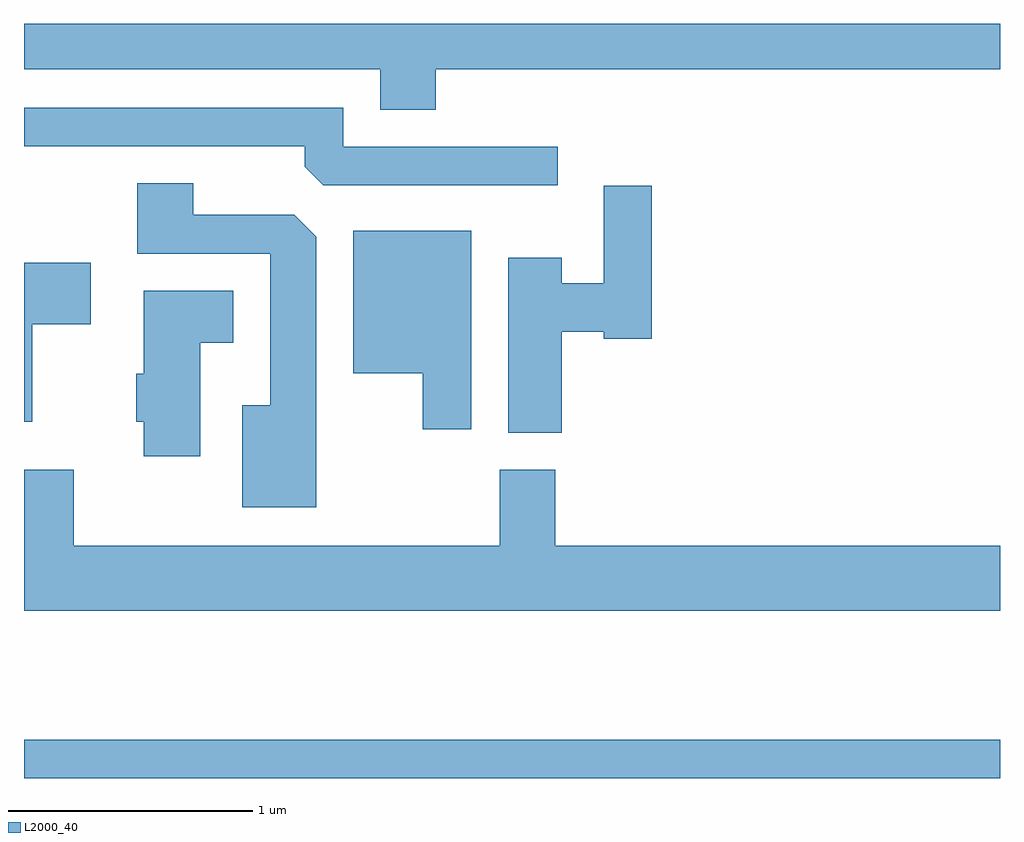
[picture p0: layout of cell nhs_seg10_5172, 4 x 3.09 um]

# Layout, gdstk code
import gdstk
lib = gdstk.Library(unit=1e-6, precision=1e-09)
def R(c, l, rs):  # rectangles x0, y0, x1, y1
    for r in rs: c.add(gdstk.rectangle(r[:2], r[2:], *l))
def P(c, l, *ps):  # polygons
    for p in ps: c.add(gdstk.Polygon(p, *l))
L2000_40 = (2000, 40)

nhs_seg10_5172 = lib.new_cell('nhs_seg10_5172')
R(nhs_seg10_5172, L2000_40, [(337.611,2135.431,341.611,2135.589)])
P(nhs_seg10_5172, L2000_40, [(339.299,2138.336),(341.611,2138.336),(341.611,2138.522),(337.611,2138.522),(337.611,2138.336),(339.071,2138.336),(339.071,2138.171),(339.299,2138.171)],
  [(339.798,2138.019),(338.919,2138.019),(338.919,2138.179),(337.611,2138.179),(337.611,2138.021),(338.761,2138.021),(338.761,2137.937),(338.837,2137.861),(339.798,2137.861)],
  [(338.809,2137.649),(338.719,2137.739),(338.304,2137.739),(338.304,2137.869),(338.076,2137.869),(338.076,2137.581),(338.621,2137.581),(338.621,2136.959),(338.506,2136.959),(338.506,2136.541),(338.809,2136.541)],
  [(339.814,2137.261),(339.986,2137.261),(339.986,2137.231),(340.184,2137.231),(340.184,2137.859),(339.986,2137.859),(339.986,2137.459),(339.814,2137.459),(339.814,2137.564),(339.596,2137.564),(339.596,2136.846),(339.814,2136.846)],
  [(339.444,2137.674),(338.961,2137.674),(338.961,2137.091),(339.246,2137.091),(339.246,2136.861),(339.444,2136.861)],
  [(337.644,2137.291),(337.884,2137.291),(337.884,2137.544),(337.611,2137.544),(337.611,2136.891),(337.644,2136.891)],
  [(338.334,2137.216),(338.469,2137.216),(338.469,2137.429),(338.101,2137.429),(338.101,2137.089),(338.071,2137.089),(338.071,2136.891),(338.101,2136.891),(338.101,2136.751),(338.334,2136.751)],
  [(341.611,2136.384),(339.789,2136.384),(339.789,2136.694),(339.561,2136.694),(339.561,2136.384),(337.814,2136.384),(337.814,2136.694),(337.611,2136.694),(337.611,2136.116),(341.611,2136.116)])

lib.write_gds('nhs_seg10_5172.gds')
